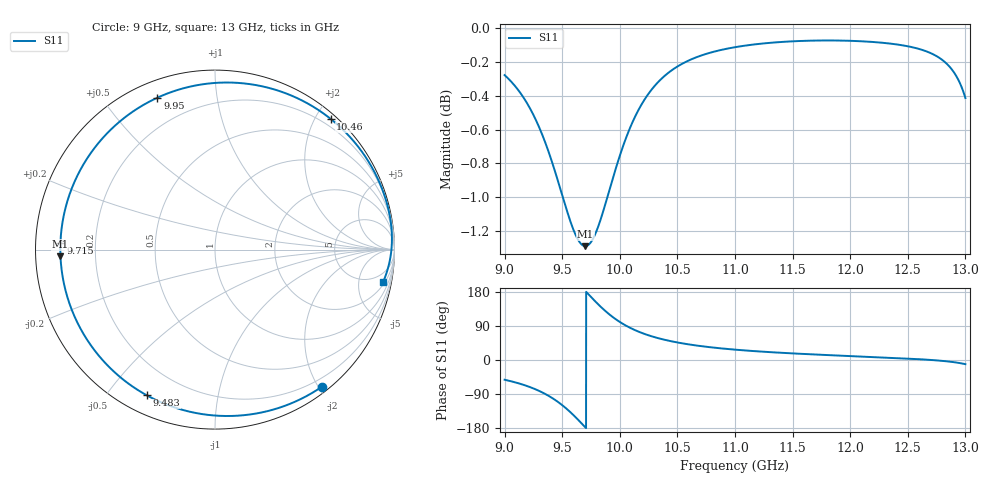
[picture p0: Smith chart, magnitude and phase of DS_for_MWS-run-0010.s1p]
! TOUCHSTONE file generated by CST DESIGN STUDIO
! Date and time: Tue Feb  4 17:52:59 2025
! Project name: C:\Work\MatlabApps\UnitCellOptimizationMatlab\CST\unitcell.cst
! Tree item: Tasks\Sweep1\SPara1\S-Parameters
! Header version: 2024
! Port assignment regex: !\s*Touchstone port\s*([0-9]+)\s*=\s*(CST MWS port|CST DES external port|CST DES block port)\s*(.+)\s* \(\"(.*)\"\)(\s*mode\s*([0-9]+))?.*
! Touchstone port assignment:
! Touchstone port 1 = CST DES external port 1 ("")
# GHz S MA R 50
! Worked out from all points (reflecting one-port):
!   4001 points, 9 GHz to 13 GHz, reference 50 ohm
!   lowest |S11| = -1.3 dB at 9.7 GHz (marker M1), VSWR 13.46, Z = 3.72 - j1.08 ohm
!   phase of S11 starts at -52 deg and turns -319 deg over the sweep
!   S11 on the Smith chart (normalised r, x): 9 GHz: 0.08, -2.04; 9.483 GHz: 0.08, -0.63; 9.715 GHz: 0.07, +0.02; 9.95 GHz: 0.07, +0.69; 10.46 GHz: 0.08, +2.21; 13 GHz: 2, -10
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9  0.9686 -52.1
9.13  0.9576 -62.3
9.252  0.9423 -75.3
9.382  0.9191 -94.6
9.483  0.8963 -115.1
9.5  0.8923 -119.1
9.546  0.8818 -130.8
9.592  0.8724 -143.7
9.648  0.8644 -160.8
9.7  0.8617 -177.5
9.715  0.8619 177.6
9.774  0.867 158.7
9.84  0.879 138.8
9.894  0.8916 124.2
9.95  0.9051 110.8
10  0.9167 100.4
10.105  0.9371 82.6
10.21  0.952 69.3
10.327  0.9636 58.1
10.461  0.9724 48.6
10.5  0.9743 46.3
10.718  0.982 36.1
11  0.9873 27.3
11.5  0.9913 17.4
12  0.9916 10.5
12.5  0.9879 3.8
12.801  0.9786 -2.4
13  0.9535 -11.0
